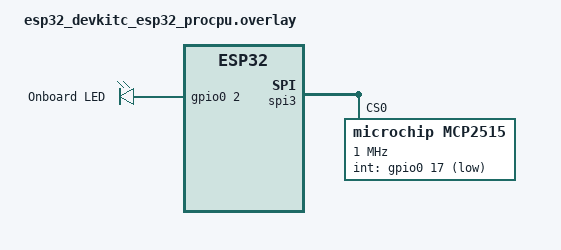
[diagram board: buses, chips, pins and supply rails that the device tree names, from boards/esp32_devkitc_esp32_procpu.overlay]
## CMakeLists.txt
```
cmake_minimum_required(VERSION 3.20.0)

find_package(Zephyr REQUIRED HINTS $ENV{ZEPHYR_BASE})
project(embeddster_fw_zephyr)

target_sources(app PRIVATE src/main.c)
```

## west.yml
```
# West workspace for the Embeddster Zephyr firmware.
# Zephyr itself is not vendored. From the git checkout:
#   uv run west init -l <repo> --mf fw-zephyr/west.yml
#   uv run west update
# See README.md.

manifest:
  remotes:
    - name: zephyrproject-rtos
      url-base: https://github.com/zephyrproject-rtos

  projects:
    - name: zephyr
      remote: zephyrproject-rtos
      revision: v4.4.2
      import:
        name-allowlist:
          - cmsis_6
          - hal_espressif
```

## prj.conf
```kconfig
CONFIG_MAIN_STACK_SIZE=4096

CONFIG_SERIAL=y
CONFIG_CONSOLE=y
CONFIG_UART_CONSOLE=y
CONFIG_PRINTK=y

CONFIG_GPIO=y

CONFIG_SPI=y
CONFIG_CAN=y
CONFIG_CAN_MCP2515=y
```

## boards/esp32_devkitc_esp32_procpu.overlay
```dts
/*
 * Embeddster PCB wiring on ESP32 DOIT DevKit V1 (VSPI / SPI3).
 * Pins match fw/include/pin_assignment.h:
 *   MOSI 23, MISO 19, SCK 18, CS 5, MCP INT 17
 */

/ {
	chosen {
		zephyr,canbus = &mcp2515;
	};

	aliases {
		led0 = &led0;
	};

	leds {
		compatible = "gpio-leds";
		led0: led_0 {
			gpios = <&gpio0 2 GPIO_ACTIVE_HIGH>;
			label = "Onboard LED";
		};
	};
};

&spi3 {
	mcp2515: mcp2515@0 {
		compatible = "microchip,mcp2515";
		reg = <0>;
		spi-max-frequency = <1000000>;
		int-gpios = <&gpio0 17 GPIO_ACTIVE_LOW>;
		osc-freq = <16000000>;
		bitrate = <125000>;
	};
};
```

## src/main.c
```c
/*
 * Embeddster Zephyr spike: boot, MCP2515 loopback self-test, then CAN sniffer.
 * Serial line format matches gui/src/protocol/protocol_handler.py (RXED: ...).
 */

#include <stdio.h>
#include <string.h>

#include <zephyr/device.h>
#include <zephyr/drivers/can.h>
#include <zephyr/drivers/gpio.h>
#include <zephyr/kernel.h>

/* -------------------------------------------------------------------------- */
/* Configuration                                                              */
/* -------------------------------------------------------------------------- */

#define TEST_CAN_ID     0x100U
#define RX_MSGQ_DEPTH   8

/* -------------------------------------------------------------------------- */
/* Module state                                                               */
/* -------------------------------------------------------------------------- */

CAN_MSGQ_DEFINE(rx_msgq, RX_MSGQ_DEPTH);

static const struct device *const can_dev =
	DEVICE_DT_GET(DT_CHOSEN(zephyr_canbus));

static const struct gpio_dt_spec led =
	GPIO_DT_SPEC_GET(DT_ALIAS(led0), gpios);

/* -------------------------------------------------------------------------- */
/* Forward declarations                                                       */
/* -------------------------------------------------------------------------- */

static void print_rxed_line(const struct can_frame *frame);
static int add_rx_filter(void);
static int init_onboard_led(void);
static int run_loopback_self_test(void);
static int start_normal_sniffer(void);

/* -------------------------------------------------------------------------- */
/* Entry point                                                                */
/* -------------------------------------------------------------------------- */

int main(void)
{
	struct can_frame frame;
	int ret;

	printf("\n\n~~~~ Embeddster Zephyr CAN spike ~~~~\n");
	printf("Serial init ok\n");

	ret = init_onboard_led();
	if (ret < 0) {
		printf("Onboard LED init failed: %d\n", ret);
	}

	if (!device_is_ready(can_dev)) {
		printf("MCP2515/CAN device not ready\n");
		return 0;
	}

	printf("MCP/CAN init ok at 125kbps with 16MHz clock\n");

	ret = run_loopback_self_test();
	if (ret != 0) {
		printf("Spike aborted during loopback test\n");
		return 0;
	}

	ret = start_normal_sniffer();
	if (ret != 0) {
		printf("Spike aborted entering sniffer mode\n");
		return 0;
	}

	while (true) {
		ret = k_msgq_get(&rx_msgq, &frame, K_FOREVER);
		if (ret != 0) {
			continue;
		}

		print_rxed_line(&frame);

		if (gpio_is_ready_dt(&led)) {
			gpio_pin_toggle_dt(&led);
		}
	}

	return 0;
}

/* -------------------------------------------------------------------------- */
/* Serial output                                                              */
/* -------------------------------------------------------------------------- */

static void print_rxed_line(const struct can_frame *frame)
{
	printf("RXED: ID=0x%X Data=0x", frame->id);

	for (int i = 0; i < frame->dlc; i++) {
		printf("%02X", frame->data[i]);
	}

	printf("='");
	for (int i = 0; i < frame->dlc; i++) {
		putchar(frame->data[i]);
	}

	printf("' Len=%u\n", frame->dlc);
}

/* -------------------------------------------------------------------------- */
/* GPIO                                                                       */
/* -------------------------------------------------------------------------- */

static int init_onboard_led(void)
{
	if (!gpio_is_ready_dt(&led)) {
		printf("Onboard LED not ready\n");
		return -ENODEV;
	}

	const int ret = gpio_pin_configure_dt(&led, GPIO_OUTPUT_INACTIVE);

	if (ret < 0) {
		return ret;
	}

	printf("Onboard LED init ok\n");
	return 0;
}

/* -------------------------------------------------------------------------- */
/* CAN                                                                        */
/* -------------------------------------------------------------------------- */

static int add_rx_filter(void)
{
	const struct can_filter filter = {
		.flags = 0U,
		.id = 0U,
		.mask = 0U,
	};

	return can_add_rx_filter_msgq(can_dev, &rx_msgq, &filter);
}

static int run_loopback_self_test(void)
{
	struct can_frame tx_frame = {
		.flags = 0U,
		.id = TEST_CAN_ID,
		.dlc = 4U,
	};
	struct can_frame rx_frame;
	int ret;

	memcpy(tx_frame.data, "R-10", tx_frame.dlc);

	ret = can_set_mode(can_dev, CAN_MODE_LOOPBACK);
	if (ret != 0) {
		printf("CAN loopback mode failed: %d\n", ret);
		return ret;
	}

	ret = can_start(can_dev);
	if (ret != 0) {
		printf("CAN start failed: %d\n", ret);
		return ret;
	}

	ret = add_rx_filter();
	if (ret < 0) {
		printf("RX filter setup failed: %d\n", ret);
		return ret;
	}

	ret = can_send(can_dev, &tx_frame, K_MSEC(100), NULL, NULL);
	if (ret != 0) {
		printf("CAN loopback send failed: %d\n", ret);
		return ret;
	}

	ret = k_msgq_get(&rx_msgq, &rx_frame, K_MSEC(500));
	if (ret != 0) {
		printf("CAN loopback receive timeout: %d\n", ret);
		return ret;
	}

	printf("Loopback self-test OK\n");
	print_rxed_line(&rx_frame);

	ret = can_stop(can_dev);
	if (ret != 0) {
		printf("CAN stop failed: %d\n", ret);
		return ret;
	}

	return 0;
}

static int start_normal_sniffer(void)
{
	int ret;

	ret = can_set_mode(can_dev, CAN_MODE_NORMAL);
	if (ret != 0) {
		printf("CAN normal mode failed: %d\n", ret);
		return ret;
	}

	ret = can_start(can_dev);
	if (ret != 0) {
		printf("CAN start failed: %d\n", ret);
		return ret;
	}

	ret = add_rx_filter();
	if (ret < 0) {
		printf("RX filter setup failed: %d\n", ret);
		return ret;
	}

	printf("Listening on CAN bus (125 kbit/s)...\n");
	return 0;
}
```
